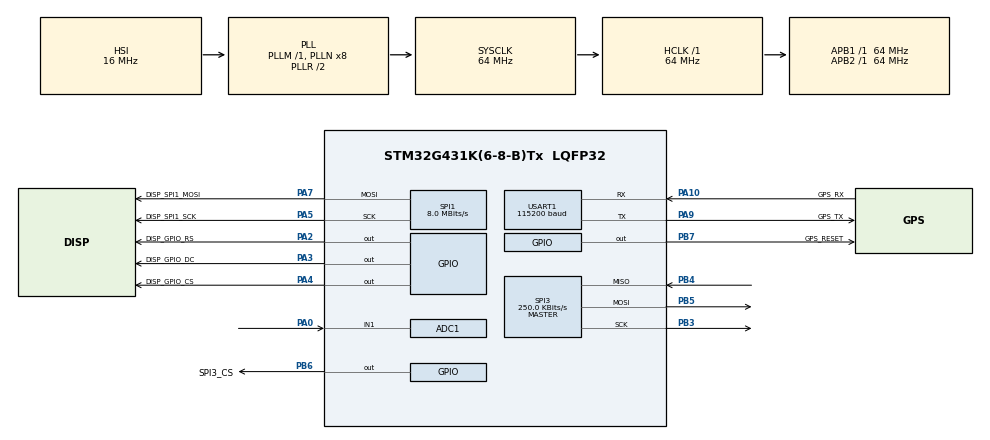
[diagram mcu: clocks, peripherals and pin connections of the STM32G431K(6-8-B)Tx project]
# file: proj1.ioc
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ADC1.Channel-0\#ChannelRegularConversion=ADC_CHANNEL_1
ADC1.NbrOfConversionFlag=1
ADC1.OffsetNumber-0\#ChannelRegularConversion=ADC_OFFSET_NONE
ADC1.Rank-0\#ChannelRegularConversion=1
ADC1.SamplingTime-0\#ChannelRegularConversion=ADC_SAMPLETIME_2CYCLES_5
ADC1.master=1
Dma.Request0=USART1_RX
Dma.USART1_RX.0.Direction=DMA_PERIPH_TO_MEMORY
Dma.USART1_RX.0.EventEnable=DISABLE
Dma.USART1_RX.0.Instance=DMA1_Channel1
Dma.USART1_RX.0.MemDataAlignment=DMA_MDATAALIGN_BYTE
Dma.USART1_RX.0.MemInc=DMA_MINC_ENABLE
Dma.USART1_RX.0.Mode=DMA_NORMAL
Dma.USART1_RX.0.PeriphDataAlignment=DMA_PDATAALIGN_BYTE
Dma.USART1_RX.0.PeriphInc=DMA_PINC_DISABLE
Dma.USART1_RX.0.Polarity=HAL_DMAMUX_REQ_GEN_RISING
Dma.USART1_RX.0.Priority=DMA_PRIORITY_LOW
Dma.USART1_RX.0.RequestNumber=1
Dma.USART1_RX.0.SignalID=NONE
Dma.USART1_RX.0.SyncEnable=DISABLE
Dma.USART1_RX.0.SyncPolarity=HAL_DMAMUX_SYNC_NO_EVENT
Dma.USART1_RX.0.SyncRequestNumber=1
Dma.USART1_RX.0.SyncSignalID=NONE
Mcu.Family=STM32G4
Mcu.Name=STM32G431K(6-8-B)Tx
Mcu.Package=LQFP32
NVIC.DMA1_Channel1_IRQn=true\:0\:0\:false\:false\:true\:false\:true\:true
NVIC.PriorityGroup=NVIC_PRIORITYGROUP_4
NVIC.USART1_IRQn=true\:0\:0\:false\:false\:true\:true\:true\:true
PA0.Mode=IN1-Single-Ended
PA0.Signal=ADC1_IN1
PA10.GPIO_Label=GPS_RX
PA10.Mode=Asynchronous
PA10.Signal=USART1_RX
PA13.Mode=Serial_Wire
PA13.Signal=SYS_JTMS-SWDIO
PA14.Mode=Serial_Wire
PA14.Signal=SYS_JTCK-SWCLK
PA2.GPIO_Label=DISP_GPIO_RS
PA2.Signal=GPIO_Output
PA3.GPIO_Label=DISP_GPIO_DC
PA3.Signal=GPIO_Output
PA4.GPIO_Label=DISP_GPIO_CS
PA4.Signal=GPIO_Output
PA5.GPIO_Label=DISP_SPI1_SCK
PA5.Mode=TX_Only_Simplex_Unidirect_Master
PA5.Signal=SPI1_SCK
PA7.GPIO_Label=DISP_SPI1_MOSI
PA7.Mode=TX_Only_Simplex_Unidirect_Master
PA7.Signal=SPI1_MOSI
PA9.GPIO_Label=GPS_TX
PA9.Mode=Asynchronous
PA9.Signal=USART1_TX
PB3.GPIO_PuPd=GPIO_PULLUP
PB3.Mode=Full_Duplex_Master
PB3.Signal=SPI3_SCK
PB4.GPIO_PuPd=GPIO_PULLUP
PB4.Mode=Full_Duplex_Master
PB4.Signal=SPI3_MISO
PB5.GPIO_PuPd=GPIO_PULLUP
PB5.Mode=Full_Duplex_Master
PB5.Signal=SPI3_MOSI
PB6.GPIO_Label=SPI3_CS
PB6.GPIO_PuPd=GPIO_PULLUP
PB6.PinState=GPIO_PIN_SET
PB6.Signal=GPIO_Output
PB7.GPIO_Label=GPS_RESET
PB7.Signal=GPIO_Output
ProjectManager.HeapSize=0x200
ProjectManager.StackSize=0x400
ProjectManager.TargetToolchain=STM32CubeIDE
RCC.ADC12Freq_Value=64000000
RCC.AHBFreq_Value=64000000
RCC.APB1Freq_Value=64000000
RCC.APB1TimFreq_Value=64000000
RCC.APB2Freq_Value=64000000
RCC.APB2TimFreq_Value=64000000
RCC.CortexFreq_Value=64000000
RCC.EXTERNAL_CLOCK_VALUE=12288000
RCC.HCLKFreq_Value=64000000
RCC.HSE_VALUE=8000000
RCC.HSI48_VALUE=48000000
RCC.HSI_VALUE=16000000
RCC.LSE_VALUE=32768
RCC.SYSCLKFreq_VALUE=64000000
RCC.SYSCLKSource=RCC_SYSCLKSOURCE_PLLCLK
RCC.USBFreq_Value=64000000
RCC.VCOOutputFreq_Value=128000000
SPI1.BaudRatePrescaler=SPI_BAUDRATEPRESCALER_8
SPI1.CLKPhase=SPI_PHASE_2EDGE
SPI1.CLKPolarity=SPI_POLARITY_HIGH
SPI1.CalculateBaudRate=8.0 MBits/s
SPI1.DataSize=SPI_DATASIZE_8BIT
SPI1.Direction=SPI_DIRECTION_2LINES
SPI1.Mode=SPI_MODE_MASTER
SPI1.VirtualType=VM_MASTER
SPI3.BaudRatePrescaler=SPI_BAUDRATEPRESCALER_256
SPI3.CalculateBaudRate=250.0 KBits/s
SPI3.DataSize=SPI_DATASIZE_8BIT
SPI3.Direction=SPI_DIRECTION_2LINES
SPI3.Mode=SPI_MODE_MASTER
SPI3.VirtualType=VM_MASTER
USART1.BaudRate=115200
USART1.VirtualMode-Asynchronous=VM_ASYNC
VP_FATFS_VS_Generic.Mode=User_defined
VP_SYS_VS_DBSignals.Mode=DisableDeadBatterySignals
board=custom

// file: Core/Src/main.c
/* USER CODE BEGIN Header */
/**
  ******************************************************************************
  * @file           : main.c
  * @brief          : Main program body
  ******************************************************************************
  * @attention
  *
  * Copyright (c) 2025 STMicroelectronics.
  * All rights reserved.
  *
  * This software is licensed under terms that can be found in the LICENSE file
  * in the root directory of this software component.
  * If no LICENSE file comes with this software, it is provided AS-IS.
  *
  ******************************************************************************
  */
/* USER CODE END Header */
#include "main.h"
#include "app_fatfs.h"
#include <stdio.h>
#include <string.h>
#include <stdarg.h> //for va_list var arg functions
#include "gps.h"

ADC_HandleTypeDef hadc1;

SPI_HandleTypeDef hspi1;
SPI_HandleTypeDef hspi3;

UART_HandleTypeDef huart1;
DMA_HandleTypeDef hdma_usart1_rx;

void SystemClock_Config(void);
static void MX_GPIO_Init(void);
static void MX_DMA_Init(void);
static void MX_ADC1_Init(void);
static void MX_SPI1_Init(void);
static void MX_SPI3_Init(void);
static void MX_USART1_UART_Init(void);

/* USER CODE BEGIN 0 */
void myprintf(const char *fmt, ...) {
  static char buffer[256];
  va_list args;
  va_start(args, fmt);
  vsnprintf(buffer, sizeof(buffer), fmt, args);
  va_end(args);

  int len = strlen(buffer);
  HAL_UART_Transmit(&huart1, (uint8_t*)buffer, len, -1);

}
/* USER CODE END 0 */

int main(void)
{

  /* MCU Configuration--------------------------------------------------------*/

  /* Reset of all peripherals, Initializes the Flash interface and the Systick. */
  HAL_Init();

  /* Configure the system clock */
  SystemClock_Config();

  /* Initialize all configured peripherals */
  MX_GPIO_Init();
  MX_DMA_Init();
  MX_ADC1_Init();
  MX_SPI1_Init();
  MX_SPI3_Init();
  MX_USART1_UART_Init();
  if (MX_FATFS_Init() != APP_OK) {
    Error_Handler();
  }
  /* USER CODE BEGIN 2 */

  HAL_Delay(1000); // short delay to let sd card settle

  FATFS FatFs; 	//Fatfs handle
  FIL fil; 		//File handle
  FRESULT fres; //Result after operations

  //Open the file system
  fres = f_mount(&FatFs, "", 1); //1=mount now
  if (fres != FR_OK) {
	myprintf("f_mount error (%i)\r\n", fres);
	while(1);
  }

  //write file
  fres = f_open(&fil, "data.txt", FA_WRITE | FA_OPEN_ALWAYS | FA_CREATE_ALWAYS);
  if(fres == FR_OK) {
	myprintf("%.3f %.3f", getLat(), getLon(), "\r\n");
  } else {
	myprintf("f_open error (%i)\r\n", fres);
  }

  char buf[64];
  snprintf(buf, sizeof(buf), "%.3f %.3f\r\n", getLat(), getLon()); // add RF value here
  UINT bytesWrote;
  fres = f_write(&fil, buf, strlen(buf), &bytesWrote);	 // write string into file

  /* USER CODE END 2 */

  /* Infinite loop */
  while (1)
  {

  }
}

void SystemClock_Config(void)
{
  RCC_OscInitTypeDef RCC_OscInitStruct = {0};
  RCC_ClkInitTypeDef RCC_ClkInitStruct = {0};

  /** Configure the main internal regulator output voltage
  */
  HAL_PWREx_ControlVoltageScaling(PWR_REGULATOR_VOLTAGE_SCALE1);

  /** Initializes the RCC Oscillators according to the specified parameters
  * in the RCC_OscInitTypeDef structure.
  */
  RCC_OscInitStruct.OscillatorType = RCC_OSCILLATORTYPE_HSI;
  RCC_OscInitStruct.HSIState = RCC_HSI_ON;
  RCC_OscInitStruct.HSICalibrationValue = RCC_HSICALIBRATION_DEFAULT;
  RCC_OscInitStruct.PLL.PLLState = RCC_PLL_ON;
  RCC_OscInitStruct.PLL.PLLSource = RCC_PLLSOURCE_HSI;
  RCC_OscInitStruct.PLL.PLLM = RCC_PLLM_DIV1;
  RCC_OscInitStruct.PLL.PLLN = 8;
  RCC_OscInitStruct.PLL.PLLP = RCC_PLLP_DIV2;
  RCC_OscInitStruct.PLL.PLLQ = RCC_PLLQ_DIV2;
  RCC_OscInitStruct.PLL.PLLR = RCC_PLLR_DIV2;
  if (HAL_RCC_OscConfig(&RCC_OscInitStruct) != HAL_OK)
  {
    Error_Handler();
  }

  /** Initializes the CPU, AHB and APB buses clocks
  */
  RCC_ClkInitStruct.ClockType = RCC_CLOCKTYPE_HCLK|RCC_CLOCKTYPE_SYSCLK
                              |RCC_CLOCKTYPE_PCLK1|RCC_CLOCKTYPE_PCLK2;
  RCC_ClkInitStruct.SYSCLKSource = RCC_SYSCLKSOURCE_PLLCLK;
  RCC_ClkInitStruct.AHBCLKDivider = RCC_SYSCLK_DIV1;
  RCC_ClkInitStruct.APB1CLKDivider = RCC_HCLK_DIV1;
  RCC_ClkInitStruct.APB2CLKDivider = RCC_HCLK_DIV1;

  if (HAL_RCC_ClockConfig(&RCC_ClkInitStruct, FLASH_LATENCY_2) != HAL_OK)
  {
    Error_Handler();
  }
}

static void MX_ADC1_Init(void)
{

  ADC_MultiModeTypeDef multimode = {0};
  ADC_ChannelConfTypeDef sConfig = {0};

  /** Common config
  */
  hadc1.Instance = ADC1;
  hadc1.Init.ClockPrescaler = ADC_CLOCK_SYNC_PCLK_DIV2;
  hadc1.Init.Resolution = ADC_RESOLUTION_12B;
  hadc1.Init.DataAlign = ADC_DATAALIGN_RIGHT;
  hadc1.Init.GainCompensation = 0;
  hadc1.Init.ScanConvMode = ADC_SCAN_DISABLE;
  hadc1.Init.EOCSelection = ADC_EOC_SINGLE_CONV;
  hadc1.Init.LowPowerAutoWait = DISABLE;
  hadc1.Init.ContinuousConvMode = DISABLE;
  hadc1.Init.NbrOfConversion = 1;
  hadc1.Init.DiscontinuousConvMode = DISABLE;
  hadc1.Init.ExternalTrigConv = ADC_SOFTWARE_START;
  hadc1.Init.ExternalTrigConvEdge = ADC_EXTERNALTRIGCONVEDGE_NONE;
  hadc1.Init.DMAContinuousRequests = DISABLE;
  hadc1.Init.Overrun = ADC_OVR_DATA_PRESERVED;
  hadc1.Init.OversamplingMode = DISABLE;
  if (HAL_ADC_Init(&hadc1) != HAL_OK)
  {
    Error_Handler();
  }

  /** Configure the ADC multi-mode
  */
  multimode.Mode = ADC_MODE_INDEPENDENT;
  if (HAL_ADCEx_MultiModeConfigChannel(&hadc1, &multimode) != HAL_OK)
  {
    Error_Handler();
  }

  /** Configure Regular Channel
  */
  sConfig.Channel = ADC_CHANNEL_1;
  sConfig.Rank = ADC_REGULAR_RANK_1;
  sConfig.SamplingTime = ADC_SAMPLETIME_2CYCLES_5;
  sConfig.SingleDiff = ADC_SINGLE_ENDED;
  sConfig.OffsetNumber = ADC_OFFSET_NONE;
  sConfig.Offset = 0;
  if (HAL_ADC_ConfigChannel(&hadc1, &sConfig) != HAL_OK)
  {
    Error_Handler();
  }

}

static void MX_SPI1_Init(void)
{

  /* SPI1 parameter configuration*/
  hspi1.Instance = SPI1;
  hspi1.Init.Mode = SPI_MODE_MASTER;
  hspi1.Init.Direction = SPI_DIRECTION_2LINES;
  hspi1.Init.DataSize = SPI_DATASIZE_8BIT;
  hspi1.Init.CLKPolarity = SPI_POLARITY_HIGH;
  hspi1.Init.CLKPhase = SPI_PHASE_2EDGE;
  hspi1.Init.NSS = SPI_NSS_SOFT;
  hspi1.Init.BaudRatePrescaler = SPI_BAUDRATEPRESCALER_8;
  hspi1.Init.FirstBit = SPI_FIRSTBIT_MSB;
  hspi1.Init.TIMode = SPI_TIMODE_DISABLE;
  hspi1.Init.CRCCalculation = SPI_CRCCALCULATION_DISABLE;
  hspi1.Init.CRCPolynomial = 7;
  hspi1.Init.CRCLength = SPI_CRC_LENGTH_DATASIZE;
  hspi1.Init.NSSPMode = SPI_NSS_PULSE_DISABLE;
  if (HAL_SPI_Init(&hspi1) != HAL_OK)
  {
    Error_Handler();
  }

}

static void MX_SPI3_Init(void)
{

  /* SPI3 parameter configuration*/
  hspi3.Instance = SPI3;
  hspi3.Init.Mode = SPI_MODE_MASTER;
  hspi3.Init.Direction = SPI_DIRECTION_2LINES;
  hspi3.Init.DataSize = SPI_DATASIZE_8BIT;
  hspi3.Init.CLKPolarity = SPI_POLARITY_LOW;
  hspi3.Init.CLKPhase = SPI_PHASE_1EDGE;
  hspi3.Init.NSS = SPI_NSS_SOFT;
  hspi3.Init.BaudRatePrescaler = SPI_BAUDRATEPRESCALER_256;
  hspi3.Init.FirstBit = SPI_FIRSTBIT_MSB;
  hspi3.Init.TIMode = SPI_TIMODE_DISABLE;
  hspi3.Init.CRCCalculation = SPI_CRCCALCULATION_DISABLE;
  hspi3.Init.CRCPolynomial = 7;
  hspi3.Init.CRCLength = SPI_CRC_LENGTH_DATASIZE;
  hspi3.Init.NSSPMode = SPI_NSS_PULSE_ENABLE;
  if (HAL_SPI_Init(&hspi3) != HAL_OK)
  {
    Error_Handler();
  }

}

static void MX_USART1_UART_Init(void)
{

  huart1.Instance = USART1;
  huart1.Init.BaudRate = 115200;
  huart1.Init.WordLength = UART_WORDLENGTH_8B;
  huart1.Init.StopBits = UART_STOPBITS_1;
  huart1.Init.Parity = UART_PARITY_NONE;
  huart1.Init.Mode = UART_MODE_TX_RX;
  huart1.Init.HwFlowCtl = UART_HWCONTROL_NONE;
  huart1.Init.OverSampling = UART_OVERSAMPLING_16;
  huart1.Init.OneBitSampling = UART_ONE_BIT_SAMPLE_DISABLE;
  huart1.Init.ClockPrescaler = UART_PRESCALER_DIV1;
  huart1.AdvancedInit.AdvFeatureInit = UART_ADVFEATURE_NO_INIT;
  if (HAL_UART_Init(&huart1) != HAL_OK)
  {
    Error_Handler();
  }
  if (HAL_UARTEx_SetTxFifoThreshold(&huart1, UART_TXFIFO_THRESHOLD_1_8) != HAL_OK)
  {
    Error_Handler();
  }
  if (HAL_UARTEx_SetRxFifoThreshold(&huart1, UART_RXFIFO_THRESHOLD_1_8) != HAL_OK)
  {
    Error_Handler();
  }
  if (HAL_UARTEx_DisableFifoMode(&huart1) != HAL_OK)
  {
    Error_Handler();
  }

}

static void MX_DMA_Init(void)
{

  /* DMA controller clock enable */
  __HAL_RCC_DMAMUX1_CLK_ENABLE();
  __HAL_RCC_DMA1_CLK_ENABLE();

  /* DMA interrupt init */
  /* DMA1_Channel1_IRQn interrupt configuration */
  HAL_NVIC_SetPriority(DMA1_Channel1_IRQn, 0, 0);
  HAL_NVIC_EnableIRQ(DMA1_Channel1_IRQn);

}

static void MX_GPIO_Init(void)
{
  GPIO_InitTypeDef GPIO_InitStruct = {0};

  /* GPIO Ports Clock Enable */
  __HAL_RCC_GPIOA_CLK_ENABLE();
  __HAL_RCC_GPIOB_CLK_ENABLE();

  /*Configure GPIO pin Output Level */
  HAL_GPIO_WritePin(GPIOA, DISP_GPIO_RS_Pin|DISP_GPIO_DC_Pin|DISP_GPIO_CS_Pin, GPIO_PIN_RESET);

  /*Configure GPIO pin Output Level */
  HAL_GPIO_WritePin(SPI3_CS_GPIO_Port, SPI3_CS_Pin, GPIO_PIN_SET);

  /*Configure GPIO pin Output Level */
  HAL_GPIO_WritePin(GPS_RESET_GPIO_Port, GPS_RESET_Pin, GPIO_PIN_RESET);

  /*Configure GPIO pins : DISP_GPIO_RS_Pin DISP_GPIO_DC_Pin DISP_GPIO_CS_Pin */
  GPIO_InitStruct.Pin = DISP_GPIO_RS_Pin|DISP_GPIO_DC_Pin|DISP_GPIO_CS_Pin;
  GPIO_InitStruct.Mode = GPIO_MODE_OUTPUT_PP;
  GPIO_InitStruct.Pull = GPIO_NOPULL;
  GPIO_InitStruct.Speed = GPIO_SPEED_FREQ_LOW;
  HAL_GPIO_Init(GPIOA, &GPIO_InitStruct);

  /*Configure GPIO pin : SPI3_CS_Pin */
  GPIO_InitStruct.Pin = SPI3_CS_Pin;
  GPIO_InitStruct.Mode = GPIO_MODE_OUTPUT_PP;
  GPIO_InitStruct.Pull = GPIO_PULLUP;
  GPIO_InitStruct.Speed = GPIO_SPEED_FREQ_LOW;
  HAL_GPIO_Init(SPI3_CS_GPIO_Port, &GPIO_InitStruct);

  /*Configure GPIO pin : GPS_RESET_Pin */
  GPIO_InitStruct.Pin = GPS_RESET_Pin;
  GPIO_InitStruct.Mode = GPIO_MODE_OUTPUT_PP;
  GPIO_InitStruct.Pull = GPIO_NOPULL;
  GPIO_InitStruct.Speed = GPIO_SPEED_FREQ_LOW;
  HAL_GPIO_Init(GPS_RESET_GPIO_Port, &GPIO_InitStruct);

}

/* USER CODE BEGIN 4 */
//callback is called whenever the cpu is finished receiving a uart message
void HAL_UART_RxCpltCallback(UART_HandleTypeDef *huart)
{
  startAsyncReceive(0);

}
/* USER CODE END 4 */

void Error_Handler(void)
{
  __disable_irq();
  while (1)
  {
  }
}
